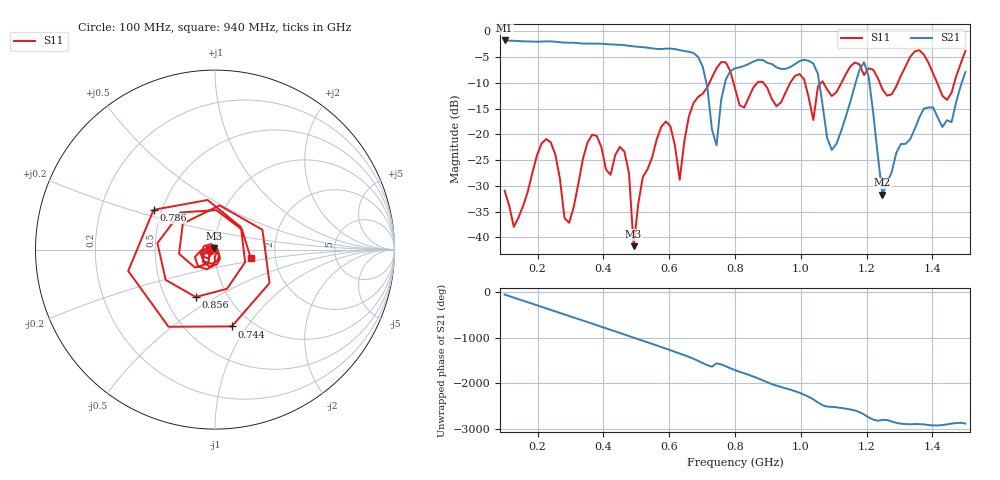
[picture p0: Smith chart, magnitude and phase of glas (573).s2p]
! NanoVNA-App
! Date: 2025-09-25 15:59:56
! Start: 100MHz Stop: 1,5GHz Points: 101
! S-Parameter data: F S11 S21 S12 S22
# Hz S RI R 50
!  Frequency  S11_Real  S11_Imag  S21_Real  S21_Imag  S12_Real  S12_Imag  S22_Real  S22_Imag
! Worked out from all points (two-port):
!   101 points, 100 MHz to 1.5 GHz, reference 50 ohm
!   highest |S21| = -1.80 dB at 100 MHz (marker M1); lowest = -31.7 dB at 1.248 GHz (marker M2)
!   |S21| within 3 dB of the highest: start of sweep to 684.4 MHz
!   lowest |S11| = -41.7 dB at 492 MHz (marker M3), VSWR 1.02, Z = 49.5 + j0.648 ohm
!   |S11| at or under -10 dB: start of sweep to 722.3 MHz; 795.4 MHz to 867.7 MHz (72.33 MHz wide, 8.7 % of centre); 886.2 MHz to 967.8 MHz (81.6 MHz wide, 8.8 % of centre) (the widest 3 of 7)
!   S12 and S22 are empty: the file has one direction only
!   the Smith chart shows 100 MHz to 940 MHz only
!   S11 on the Smith chart (normalised r, x): 100 MHz: 0.95, -0.01; 744 MHz: 0.80, -0.85; 786 MHz: 0.45, +0.24; 856 MHz: 0.71, -0.41; 940 MHz: 1.49, -0.15
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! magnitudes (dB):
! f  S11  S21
! 100 MHz  -30.9  -1.8
! 128 MHz  -37.9  -1.9
! 226 MHz  -20.9  -2.0
! 296 MHz  -37.1  -2.2
! 338 MHz  -24.8  -2.4
! 464 MHz  -23.3  -2.7
! 492 MHz  -41.7  -2.9
! 576 MHz  -18.5  -3.5
! 632 MHz  -28.8  -3.7
! 702 MHz  -12.1  -6.9
! 744 MHz  -7.2  -22.1
! 786 MHz  -7.8  -7.7
! 800 MHz  -11.1  -7.2
! 856 MHz  -10.9  -5.9
! 940 MHz  -13.8  -7.3
! 996 MHz  -8.3  -5.8
! 1.038 GHz  -17.2  -6.3
! 1.094 GHz  -12.6  -23.0
! 1.192 GHz  -8.5  -6.0
! 1.248 GHz  -11.3  -31.7
! 1.276 GHz  -12.2  -27.4
! 1.5 GHz  -3.8  -7.9
